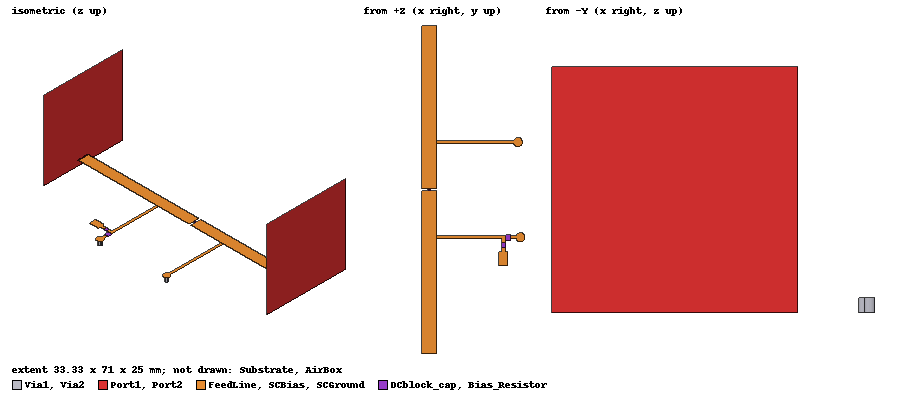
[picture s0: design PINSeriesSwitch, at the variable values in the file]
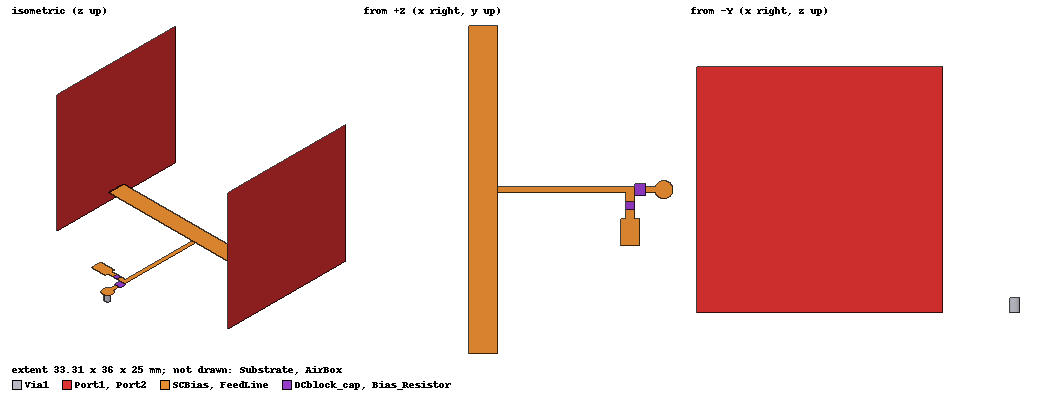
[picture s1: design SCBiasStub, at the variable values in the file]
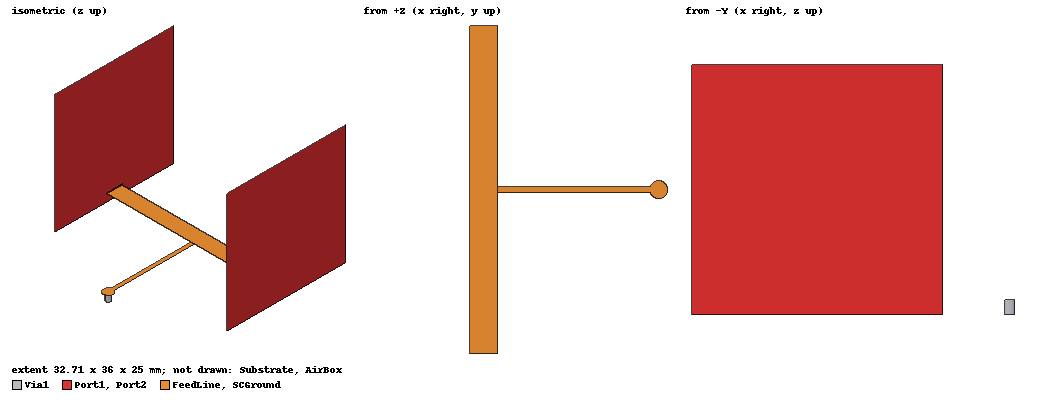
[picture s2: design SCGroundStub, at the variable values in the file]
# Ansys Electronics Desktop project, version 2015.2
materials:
  vacuum: permittivity=1
  FR4_epoxy: permittivity=4.4 dielectric_loss_tangent=0.02
  pec: conductivity=1e+030
  FR4_epoxy_4.1: permittivity=4.1 dielectric_loss_tangent=0.01

design PINSeriesSwitch (HFSS, DrivenModal, model units mm)
options: Calculate_Lossy_Dielectrics
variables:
  subx = 40mm
  suby = feed_line_length
  subh = 62mil
  feed_line_width = 3.157mm
  feed_line_length = 71mm
  SCBias_width = 0.7455mm
  SCBias_length = 18.25mm
  SCBias_d = 10mm
  SCGround_width = 0.7455mm
  SCGround_length = 17.65mm
  SCGround_d = 10mm
  diode_length = 0.6mm
  diode_width = 0.7mm
  via_radius = 0.51mm
  DCblock_cap_length = 1.2mm
  DCblock_cap_width = 1.3mm
  DCblock_C = 47nF
  Diode_L = 0.7nH
  Diode_Capacitance = 0.18pF
  Diode_ReverseBias_R = 10000ohm
  Diode_ForwardBias_R = 1.5ohm
  _1_for_ON__0_for_OFF = 0
  biasR_length = 0.9mm
  biasR_width = 0.9mm
  Bias_Resistor = 510ohm
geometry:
  Substrate [FR4_epoxy_4.1] = box(corner=(-subx/3, 0mm, 0mm), size=(subx, suby, -subh))
  FeedLine = rectangle(corner=(-feed_line_width/2, 0mm, 0mm), x_size=feed_line_width, y_size=feed_line_length)
  diode_gap = rectangle(corner=(-feed_line_width/2, suby/2-diode_length/2, 0mm), x_size=feed_line_width, y_size=diode_length)
  FeedLine.subtract(diode_gap)
  Diode_L = rectangle(corner=(-diode_width/2, suby/2-diode_length/2, 0mm), x_size=diode_width, y_size=diode_length/2)
  Diode_RC = rectangle(corner=(-diode_width/2, suby/2, 0mm), x_size=diode_width, y_size=diode_length/2)
  SCBias = rectangle(corner=(feed_line_width/2, suby/2-diode_length/2-SCBias_d-SCBias_width/2, 0mm), x_size=SCBias_length, y_size=SCBias_width)
  SCGround = rectangle(corner=(feed_line_width/2, suby/2+diode_length/2+SCGround_d-SCGround_width/2, 0mm), x_size=SCGround_length, y_size=SCGround_width)
  Via1 [pec] = cylinder(axis=Z, base_centre=(feed_line_width/2+SCBias_length, suby/2-diode_length/2-SCBias_d, 0mm), radius=via_radius, height=-subh)
  Via2 [pec] = cylinder(axis=Z, base_centre=(feed_line_width/2+SCGround_length, suby/2+diode_length/2+SCGround_d, 0mm), radius=via_radius, height=-subh)
  DCblock_gap = rectangle(corner=(feed_line_width/2+SCBias_length-4*via_radius-DCblock_cap_length, suby/2-diode_length/2-SCbias_d-SCBias_width/2, 0mm), x_size=DCblock_cap_length, y_size=SCBias_width)
  DCblock_cap = rectangle(corner=(feed_line_width/2+SCBias_length-4*via_radius-DCblock_cap_length, suby/2-diode_length/2-SCBias_d-DCblock_cap_width/2, 0mm), x_size=DCblock_cap_length, y_size=DCblock_cap_width)
  SCBias.subtract(DCblock_gap)
  AirBox [vacuum] = box(corner=(-subx/3, 0mm, 0mm), size=(subx, suby, 25mm))
  Port1 = rectangle(corner=(-25mm/2, 0mm, -subh), z_size=25mm, x_size=25mm)
  Port2 = rectangle(corner=(-25mm/2, suby, -subh), z_size=25mm, x_size=25mm)
  ViaPad1 = circle(normal=Z, centre=(feed_line_width/2+SCBias_length, suby/2-diode_length/2-SCbias_d, 0mm), radius=1mm)
  SCBias.unite(ViaPad1)
  ViaPad2 = circle(normal=Z, centre=(feed_line_width/2+SCGround_length, suby/2+diode_length/2+SCGround_d, 0mm), radius=1mm)
  SCGround.unite(ViaPad2)
  Bias_Resistor = rectangle(corner=(feed_line_width/2+SCBias_length-4*via_radius-DCblock_cap_length-biasR_width, suby/2-diode_length/2-SCBias_d-SCBias_width/2-2*biasR_length, 0mm), x_size=biasR_width, y_size=biasR_length)
  Bias_Resistor_Pad1 = rectangle(corner=(feed_line_width/2+SCBias_length-4*via_radius-DCblock_cap_length-biasR_width, suby/2-diode_length/2-SCBias_d-SCBias_width/2-biasR_length, 0mm), x_size=biasR_width, y_size=biasR_length)
  Bias_Resistor_Pad2 = rectangle(corner=(feed_line_width/2+SCBias_length-4*via_radius-DCblock_cap_length-biasR_width, suby/2-diode_length/2-SCBias_d-SCBias_width/2-2*biasR_length-1mm, 0mm), x_size=biasR_width, y_size=1mm)
  DC_Bias_Pad = rectangle(corner=(feed_line_width/2+SCBias_length-4*via_radius-DCblock_cap_length-biasR_width/2-1mm, suby/2-diode_length/2-SCBias_d-SCBias_width/2-2*biasR_length-4mm, 0mm), x_size=2mm, y_size=3mm)
  SCBias.unite(Bias_Resistor_Pad1, Bias_Resistor_Pad2, DC_Bias_Pad)
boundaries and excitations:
  Rad1: Radiation Faces=Substrate.face(-y, -x, +y, +x) AirBox.face(+z, -y, -x, +y, +x)
  PerfE1: Perfect E Objects=[SCBias, SCGround, FeedLine]
  Diode_L: Lumped RLC Objects=Diode_L CurrentLine{middle of Diode_L.edge(y at corner) -> middle of Diode_L.edge(y opposite corner)} Inductance=Diode_L
  Diode_RC: Lumped RLC Objects=Diode_RC CurrentLine{middle of Diode_RC.edge(y at corner) -> middle of Diode_RC.edge(y opposite corner)} Resistance=(_1_for_ON__0_for_OFF*Diode_ForwardBias_R)+((1-_1_for_ON__0_for_OFF)*Diode_ReverseBias_R) Capacitance=Diode_Capacitance
  DCblock_Cap: Lumped RLC Objects=DCblock_cap CurrentLine{middle of DCblock_cap.edge(x at corner) -> middle of DCblock_cap.edge(x opposite corner)} Capacitance=DCblock_C
  Bias_Resistor: Lumped RLC Objects=Bias_Resistor CurrentLine{middle of Bias_Resistor.edge(y at corner) -> middle of Bias_Resistor.edge(y opposite corner)} Resistance=Bias_Resistor
  1: Wave Port Objects=Port1 NumModes=1 DeembedDist=15mm Modes{Mode1{IntLine{middle of Port1.edge(z at corner) -> middle of Port1.edge(z opposite corner)} CharImp=Zpi}}
  2: Wave Port Objects=Port2 NumModes=1 DeembedDist=15mm Modes{Mode1{IntLine{middle of Port2.edge(z at corner) -> middle of Port2.edge(z opposite corner)} CharImp=Zpi}}
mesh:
  initial mesh: GlobalSurfApproximation{SurfDevChoice=0 NormalDevChoice=1 AspectRatioChoice=1 SetFacePreservationLevel=0}
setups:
  Setup1: HfssDriven Frequency=2.5GHz MaxDeltaS=0.01 MaximumPasses=25 MinimumPasses=1 MinimumConvergedPasses=2 PercentRefinement=30 BasisOrder=1 PortAccuracy=2
    sweep Sweep: 1GHz to 5GHz step 0.001GHz; Type=Fast SaveFields
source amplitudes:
  1:1: 1W 0deg
  2:1: 0W 0deg
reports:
  S11_S21_dB: dB(S(1,1)), dB(S(2,1)) vs Freq on Setup1 : Sweep [_1_for_ON__0_for_OFF=all]; markers m1 at 2.5GHz, m2 at 2.5GHz, m3 at 2.5GHz, m4 at 2.5GHz

design SCBiasStub (HFSS, DrivenModal, model units mm)
options: Calculate_Lossy_Dielectrics
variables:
  subx = 40mm
  suby = feed_line_length
  subh = 62mil
  feed_line_width = 3.127mm
  feed_line_length = 36mm
  SCBias_width = 0.7455mm
  SCBias_length = 18.25mm
  via_radius = 0.51mm
  DCblock_cap_length = 1.2mm
  DCblock_cap_width = 1.3mm
  DCblock_C = 47nF
  biasR_length = 0.9mm
  biasR_width = 0.9mm
  Bias_Resistor = 510ohm
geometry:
  Substrate [FR4_epoxy_4.1] = box(corner=(-subx/3, 0mm, 0mm), size=(subx, suby, -subh))
  FeedLine = rectangle(corner=(-feed_line_width/2, 0mm, 0mm), x_size=feed_line_width, y_size=feed_line_length)
  SCBias = rectangle(corner=(feed_line_width/2, suby/2-SCBias_width/2, 0mm), x_size=SCBias_length, y_size=SCBias_width)
  Via1 [pec] = cylinder(axis=Z, base_centre=(feed_line_width/2+SCBias_length, suby/2, 0mm), radius=via_radius, height=-subh)
  DCblock_gap = rectangle(corner=(feed_line_width/2+SCBias_length-4*via_radius-DCblock_cap_length, suby/2-SCBias_width/2, 0mm), x_size=DCblock_cap_length, y_size=SCBias_width)
  DCblock_cap = rectangle(corner=(feed_line_width/2+SCBias_length-4*via_radius-DCblock_cap_length, suby/2-DCblock_cap_width/2, 0mm), x_size=DCblock_cap_length, y_size=DCblock_cap_width)
  SCBias.subtract(DCblock_gap)
  AirBox [vacuum] = box(corner=(-subx/3, 0mm, 0mm), size=(subx, suby, 25mm))
  Port1 = rectangle(corner=(-25mm/2, 0mm, -subh), z_size=25mm, x_size=25mm)
  Port2 = rectangle(corner=(-25mm/2, suby, -subh), z_size=25mm, x_size=25mm)
  ViaPad1 = circle(normal=Z, centre=(feed_line_width/2+SCBias_length, suby/2, 0mm), radius=1mm)
  SCBias.unite(ViaPad1)
  Bias_Resistor = rectangle(corner=(feed_line_width/2+SCBias_length-4*via_radius-DCblock_cap_length-biasR_width, suby/2-SCBias_width/2-2*biasR_length, 0mm), x_size=biasR_width, y_size=biasR_length)
  Bias_Resistor_Pad1 = rectangle(corner=(feed_line_width/2+SCBias_length-4*via_radius-DCblock_cap_length-biasR_width, suby/2-SCBias_width/2-biasR_length, 0mm), x_size=biasR_width, y_size=biasR_length)
  Bias_Resistor_Pad2 = rectangle(corner=(feed_line_width/2+SCBias_length-4*via_radius-DCblock_cap_length-biasR_width, suby/2-SCBias_width/2-2*biasR_length-1mm, 0mm), x_size=biasR_width, y_size=1mm)
  DC_Bias_Pad = rectangle(corner=(feed_line_width/2+SCBias_length-4*via_radius-DCblock_cap_length-biasR_width/2-1mm, suby/2-SCBias_width/2-2*biasR_length-4mm, 0mm), x_size=2mm, y_size=3mm)
  SCBias.unite(Bias_Resistor_Pad1, Bias_Resistor_Pad2, DC_Bias_Pad)
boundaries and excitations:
  Rad1: Radiation Faces=Substrate.face(-y, -x, +y, +x) AirBox.face(+z, -y, -x, +y, +x)
  PerfE1: Perfect E Objects=[SCBias, FeedLine]
  DCblock_Cap: Lumped RLC Objects=DCblock_cap CurrentLine{middle of DCblock_cap.edge(x at corner) -> middle of DCblock_cap.edge(x opposite corner)} Capacitance=DCblock_C
  Bias_Resistor: Lumped RLC Objects=Bias_Resistor CurrentLine{middle of Bias_Resistor.edge(y at corner) -> middle of Bias_Resistor.edge(y opposite corner)} Resistance=Bias_Resistor
  1: Wave Port Objects=Port1 NumModes=1 DeembedDist=15mm Modes{Mode1{IntLine{middle of Port1.edge(z at corner) -> middle of Port1.edge(z opposite corner)} CharImp=Zpi}}
  2: Wave Port Objects=Port2 NumModes=1 DeembedDist=15mm Modes{Mode1{IntLine{middle of Port2.edge(z at corner) -> middle of Port2.edge(z opposite corner)} CharImp=Zpi}}
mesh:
  initial mesh: GlobalSurfApproximation{SurfDevChoice=0 NormalDevChoice=1 AspectRatioChoice=1 SetFacePreservationLevel=0}
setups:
  Setup1: HfssDriven Frequency=2.5GHz MaxDeltaS=0.01 MaximumPasses=25 MinimumPasses=1 MinimumConvergedPasses=2 PercentRefinement=30 BasisOrder=1 PortAccuracy=2
    sweep Sweep: 1GHz to 5GHz step 0.001GHz; Type=Fast SaveFields
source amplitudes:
  1:1: 1W 0deg
  2:1: 0W 0deg
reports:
  S11_S21_dB: dB(S(1,1)), dB(S(2,1)) vs Freq on Setup1 : Sweep

design SCGroundStub (HFSS, DrivenModal, model units mm)
options: Calculate_Lossy_Dielectrics
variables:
  subx = 40mm
  suby = feed_line_length
  subh = 62mil
  feed_line_width = 3.127mm
  feed_line_length = 36mm
  SCGround_width = 0.7455mm
  SCGround_length = 17.65mm
  via_radius = 0.51mm
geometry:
  Substrate [FR4_epoxy_4.1] = box(corner=(-subx/3, 0mm, 0mm), size=(subx, suby, -subh))
  FeedLine = rectangle(corner=(-feed_line_width/2, 0mm, 0mm), x_size=feed_line_width, y_size=feed_line_length)
  SCGround = rectangle(corner=(feed_line_width/2, suby/2-SCGround_width/2, 0mm), x_size=SCGround_length, y_size=SCGround_width)
  Via1 [pec] = cylinder(axis=Z, base_centre=(feed_line_width/2+SCGround_length, suby/2, 0mm), radius=via_radius, height=-subh)
  AirBox [vacuum] = box(corner=(-subx/3, 0mm, 0mm), size=(subx, suby, 25mm))
  Port1 = rectangle(corner=(-25mm/2, 0mm, -subh), z_size=25mm, x_size=25mm)
  Port2 = rectangle(corner=(-25mm/2, suby, -subh), z_size=25mm, x_size=25mm)
  ViaPad1 = circle(normal=Z, centre=(feed_line_width/2+SCGround_length, suby/2, 0mm), radius=1mm)
  SCGround.unite(ViaPad1)
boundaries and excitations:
  Rad1: Radiation Faces=Substrate.face(-y, -x, +y, +x) AirBox.face(+z, -y, -x, +y, +x)
  PerfE1: Perfect E Objects=[SCGround, FeedLine]
  1: Wave Port Objects=Port1 NumModes=1 DeembedDist=15mm Modes{Mode1{IntLine{middle of Port1.edge(z at corner) -> middle of Port1.edge(z opposite corner)} CharImp=Zpi}}
  2: Wave Port Objects=Port2 NumModes=1 DeembedDist=15mm Modes{Mode1{IntLine{middle of Port2.edge(z at corner) -> middle of Port2.edge(z opposite corner)} CharImp=Zpi}}
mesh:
  initial mesh: GlobalSurfApproximation{SurfDevChoice=0 NormalDevChoice=1 AspectRatioChoice=1 SetFacePreservationLevel=0}
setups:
  Setup1: HfssDriven Frequency=2.5GHz MaxDeltaS=0.01 MaximumPasses=25 MinimumPasses=1 MinimumConvergedPasses=2 PercentRefinement=30 BasisOrder=1 PortAccuracy=2
    sweep Sweep: 1GHz to 5GHz step 0.001GHz; Type=Fast SaveFields
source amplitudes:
  1:1: 1W 0deg
  2:1: 0W 0deg
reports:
  S11_S21_dB: dB(S(1,1)), dB(S(2,1)) vs Freq on Setup1 : Sweep
